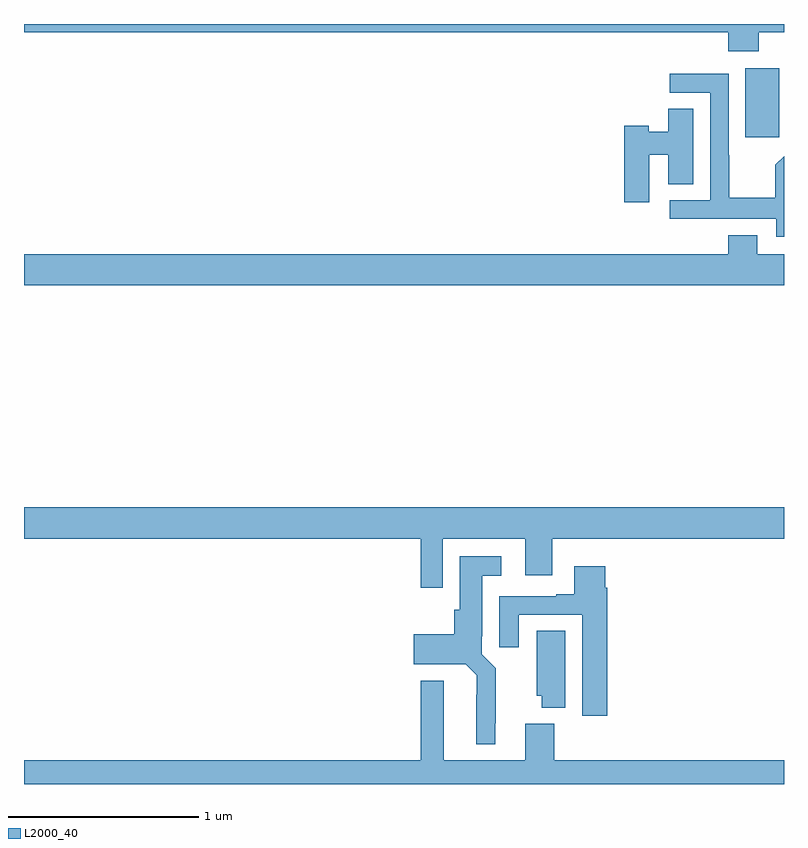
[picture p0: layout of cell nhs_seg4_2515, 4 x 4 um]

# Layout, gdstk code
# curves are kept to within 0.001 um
import gdstk
lib = gdstk.Library(unit=1e-6, precision=1e-09)
def R(c, l, rs):  # rectangles x0, y0, x1, y1
    for r in rs: c.add(gdstk.rectangle(r[:2], r[2:], *l))
def P(c, l, *ps):  # polygons
    for p in ps: c.add(gdstk.Polygon(p, *l))
L2000_40 = (2000, 40)

nhs_seg4_2515 = lib.new_cell('nhs_seg4_2515')
R(nhs_seg4_2515, L2000_40, [(246.797,760.305,246.976,760.666)])
P(nhs_seg4_2515, L2000_40, [(246.867,760.856),(247,760.856),(247,760.9),(243,760.9),(243,760.856),(246.707,760.856),(246.707,760.757),(246.867,760.757)],
  [(247,760.204),(246.955,760.159),(246.955,759.985),(246.711,759.985),(246.711,760.208),(246.708,760.208),(246.708,760.638),(246.399,760.638),(246.399,760.539),(246.612,760.539),(246.612,759.972),(246.399,759.972),(246.399,759.876),(246.96,759.876),(246.96,759.779),(247,759.779)],
  [(246.292,760.211),(246.392,760.211),(246.392,760.057),(246.523,760.057),(246.523,760.454),(246.392,760.454),(246.392,760.333),(246.288,760.333),(246.288,760.364),(246.158,760.364),(246.158,759.963),(246.292,759.963)],
  [(247,759.688),(246.859,759.688),(246.859,759.787),(246.707,759.787),(246.707,759.688),(243,759.688),(243,759.524),(247,759.524)],
  [(245.205,758.192),(245.639,758.192),(245.639,757.998),(245.779,757.998),(245.779,758.192),(247,758.192),(247,758.356),(243,758.356),(243,758.192),(245.089,758.192),(245.089,757.932),(245.205,757.932)],
  [(245.479,757.219),(245.483,757.219),(245.483,757.51),(245.409,757.584),(245.409,757.678),(245.413,757.678),(245.413,757.997),(245.512,757.997),(245.512,758.098),(245.294,758.098),(245.294,757.818),(245.264,757.818),(245.264,757.687),(245.052,757.687),(245.052,757.529),(245.325,757.529),(245.382,757.472),(245.381,757.109),(245.479,757.109)],
  [(246.071,757.934),(246.058,757.934),(246.058,758.047),(245.897,758.047),(245.897,757.9),(245.801,757.9),(245.801,757.887),(245.501,757.887),(245.501,757.62),(245.605,757.62),(245.605,757.791),(245.939,757.791),(245.939,757.26),(246.071,757.26)],
  [(245.848,757.706),(245.699,757.706),(245.699,757.365),(245.726,757.365),(245.726,757.301),(245.848,757.301)],
  [(247,757.024),(245.792,757.024),(245.792,757.216),(245.639,757.216),(245.639,757.024),(245.209,757.024),(245.209,757.444),(245.087,757.444),(245.087,757.024),(243,757.024),(243,756.9),(247,756.9)])

lib.write_gds('nhs_seg4_2515.gds')
